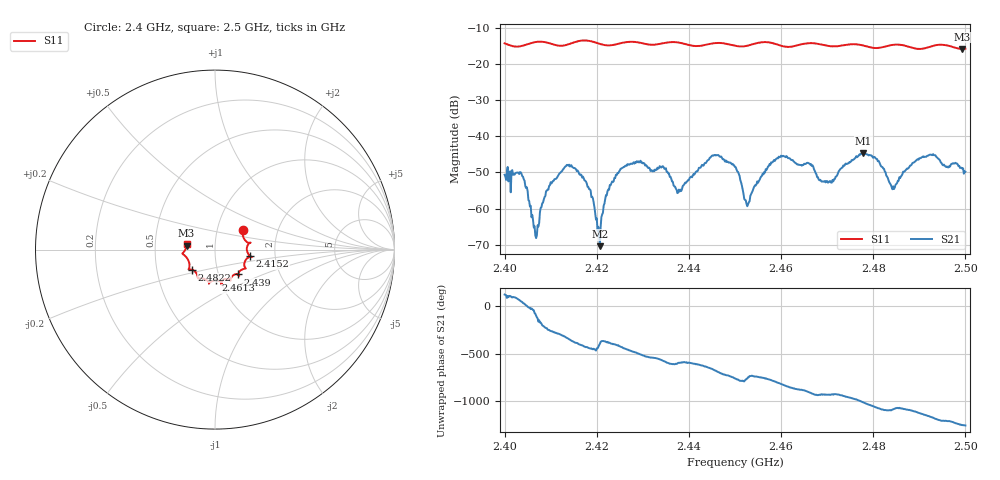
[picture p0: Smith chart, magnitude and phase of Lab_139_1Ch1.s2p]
# Hz S RI R 50
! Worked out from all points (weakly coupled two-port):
!   601 points, 2.4 GHz to 2.5 GHz, reference 50 ohm
!   highest |S21| = -44.74 dB at 2.4778 GHz (marker M1); lowest = -70.4 dB at 2.4207 GHz (marker M2)
!   lowest |S11| = -15.9 dB at 2.4993 GHz (marker M3), VSWR 1.38, Z = 36.3 + j1.61 ohm
!   |S11| at or under -10 dB: start of sweep to end of sweep
!   S12 and S22 are empty: the file has one direction only
!   S11 on the Smith chart (normalised r, x): 2.4 GHz: 1.33, +0.31; 2.4152 GHz: 1.48, -0.11; 2.439 GHz: 1.24, -0.35; 2.4613 GHz: 0.96, -0.34; 2.4822 GHz: 0.76, -0.17; 2.5 GHz: 0.73, +0.05
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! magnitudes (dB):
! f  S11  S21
! 2.4 GHz  -14.4  -50.7
! 2.4038 GHz  -15.0  -51.0
! 2.4068 GHz  -14.0  -68.2
! 2.4095 GHz  -14.2  -54.8
! 2.4152 GHz  -14.1  -48.8
! 2.4167 GHz  -13.6  -50.7
! 2.4207 GHz  -14.5  -70.4
! 2.4253 GHz  -14.3  -48.9
! 2.4333 GHz  -14.6  -49.0
! 2.439 GHz  -14.5  -53.3
! 2.4453 GHz  -14.3  -45.4
! 2.45 GHz  -15.0  -48.5
! 2.4527 GHz  -15.0  -59.3
! 2.4613 GHz  -15.3  -45.7
! 2.4667 GHz  -14.3  -48.2
! 2.4707 GHz  -15.2  -52.4
! 2.4778 GHz  -15.0  -44.7
! 2.4822 GHz  -15.4  -48.9
! 2.4833 GHz  -15.0  -52.2
! 2.4925 GHz  -15.2  -45.1
! 2.4993 GHz  -15.9  -49.0
! 2.5 GHz  -15.8  -49.8
